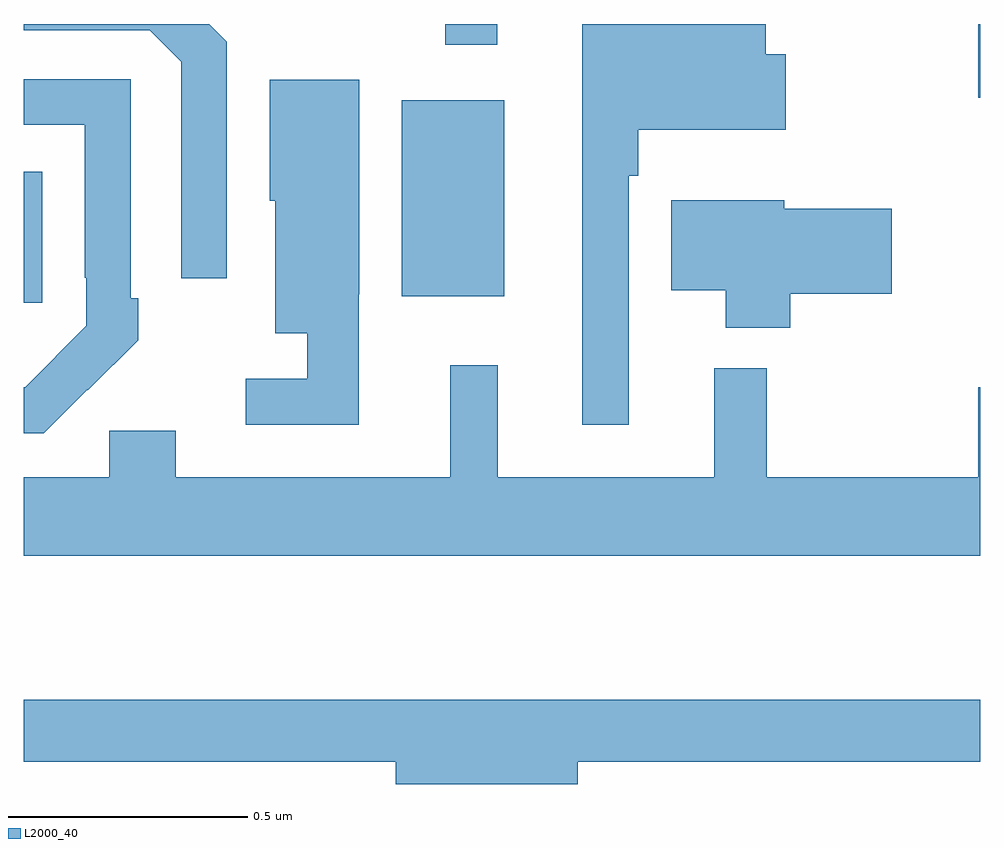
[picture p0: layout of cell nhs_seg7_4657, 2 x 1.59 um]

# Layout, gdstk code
import gdstk
lib = gdstk.Library(unit=1e-6, precision=1e-09)
def R(c, l, rs):  # rectangles x0, y0, x1, y1
    for r in rs: c.add(gdstk.rectangle(r[:2], r[2:], *l))
def P(c, l, *ps):  # polygons
    for p in ps: c.add(gdstk.Polygon(p, *l))
L2000_40 = (2000, 40)

nhs_seg7_4657 = lib.new_cell('nhs_seg7_4657')
R(nhs_seg7_4657, L2000_40, [(175,1062.417,175.039,1062.691), (175.79,1062.431,176.005,1062.841), (176.996,1062.846,177,1063), (175.881,1062.957,175.99,1063)])
P(nhs_seg7_4657, L2000_40, [(176.265,1062.683),(176.285,1062.683),(176.285,1062.779),(176.593,1062.779),(176.593,1062.937),(176.551,1062.937),(176.551,1063),(176.168,1063),(176.168,1062.162),(176.265,1062.162)],
  [(175.425,1062.963),(175.388,1063),(175,1063),(175,1062.987),(175.263,1062.987),(175.329,1062.921),(175.329,1062.468),(175.425,1062.468)],
  [(175.133,1062.235),(175.134,1062.234),(175.239,1062.339),(175.239,1062.427),(175.224,1062.427),(175.224,1062.885),(175,1062.885),(175,1062.789),(175.128,1062.789),(175.128,1062.469),(175.131,1062.469),(175.131,1062.369),(175.003,1062.241),(175,1062.241),(175,1062.144),(175.042,1062.144)],
  [(175.701,1062.435),(175.702,1062.435),(175.702,1062.883),(175.514,1062.883),(175.514,1062.63),(175.526,1062.63),(175.526,1062.353),(175.593,1062.353),(175.593,1062.258),(175.464,1062.258),(175.464,1062.162),(175.701,1062.162)],
  [(176.603,1062.436),(176.815,1062.436),(176.815,1062.614),(176.59,1062.614),(176.59,1062.631),(176.354,1062.631),(176.354,1062.443),(176.468,1062.443),(176.468,1062.365),(176.603,1062.365)],
  [(177,1062.241),(176.996,1062.241),(176.996,1062.052),(176.554,1062.052),(176.554,1062.28),(176.444,1062.28),(176.444,1062.052),(175.991,1062.052),(175.991,1062.286),(175.892,1062.286),(175.892,1062.052),(175.318,1062.052),(175.318,1062.15),(175.179,1062.15),(175.179,1062.052),(175,1062.052),(175,1061.888),(177,1061.888)],
  [(176.158,1061.458),(177,1061.458),(177,1061.587),(175,1061.587),(175,1061.458),(175.778,1061.458),(175.778,1061.411),(176.158,1061.411)])

lib.write_gds('nhs_seg7_4657.gds')
